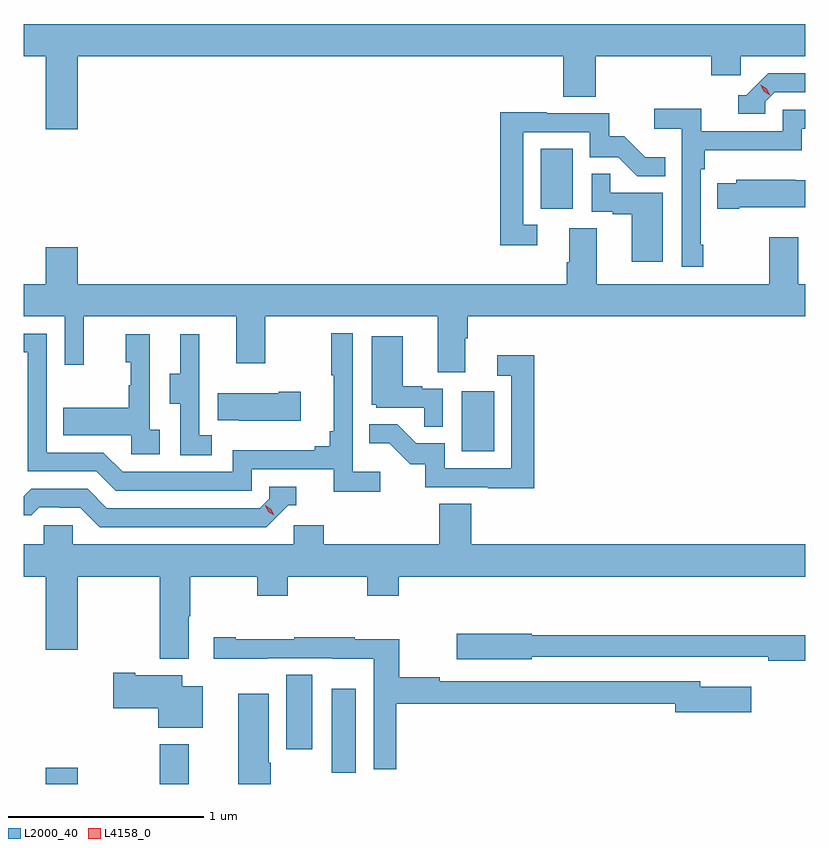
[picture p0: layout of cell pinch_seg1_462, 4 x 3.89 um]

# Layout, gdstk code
import gdstk
lib = gdstk.Library(unit=1e-6, precision=1e-09)
def R(c, l, rs):  # rectangles x0, y0, x1, y1
    for r in rs: c.add(gdstk.rectangle(r[:2], r[2:], *l))
def P(c, l, *ps):  # polygons
    for p in ps: c.add(gdstk.Polygon(p, *l))
L2000_40 = (2000, 40)
L4158_0 = (4158, 0)

pinch_seg1_462 = lib.new_cell('pinch_seg1_462')
R(pinch_seg1_462, L2000_40, [(968.204,521.366,968.368,521.449), (968.788,521.366,968.935,521.569), (969.668,521.424,969.79,521.854), (969.434,521.544,969.568,521.924), (970.334,523.068,970.498,523.375), (970.736,524.31,970.9,524.617)])
P(pinch_seg1_462, L2000_40, [(968.091,525.092),(968.204,525.092),(968.204,524.718),(968.368,524.718),(968.368,525.092),(970.853,525.092),(970.853,524.884),(971.018,524.884),(971.018,525.092),(971.609,525.092),(971.609,524.994),(971.76,524.994),(971.76,525.092),(972.091,525.092),(972.091,525.256),(968.091,525.256)],
  [(971.886,524.859),(971.934,524.907),(972.091,524.907),(972.091,525.003),(971.901,525.003),(971.79,524.892),(971.747,524.892),(971.747,524.796),(971.886,524.796)],
  [(971.569,524.125),(971.556,524.125),(971.556,524.513),(971.576,524.513),(971.576,524.609),(972.072,524.609),(972.072,524.721),(972.091,524.721),(972.091,524.817),(971.976,524.817),(971.976,524.706),(971.558,524.706),(971.558,524.822),(971.319,524.822),(971.319,524.72),(971.46,524.72),(971.46,524.013),(971.569,524.013)],
  [(970.72,524.229),(970.647,524.229),(970.647,524.703),(970.989,524.703),(970.989,524.574),(971.133,524.574),(971.231,524.476),(971.375,524.476),(971.375,524.575),(971.271,524.575),(971.164,524.682),(971.088,524.682),(971.088,524.799),(970.769,524.799),(970.769,524.804),(970.531,524.804),(970.531,524.124),(970.72,524.124)],
  [(971.362,524.391),(971.093,524.391),(971.093,524.489),(970.998,524.489),(970.998,524.295),(971.105,524.295),(971.105,524.283),(971.204,524.283),(971.204,524.04),(971.362,524.04)],
  [(971.752,524.318),(972.091,524.318),(972.091,524.455),(972.041,524.455),(972.041,524.458),(971.739,524.458),(971.739,524.44),(971.641,524.44),(971.641,524.311),(971.752,524.311)],
  [(970.351,523.648),(970.364,523.648),(970.364,523.76),(972.091,523.76),(972.091,523.924),(972.055,523.924),(972.055,524.164),(971.908,524.164),(971.908,523.924),(971.023,523.924),(971.023,524.21),(970.883,524.21),(970.883,524.036),(970.871,524.036),(970.871,523.924),(968.368,523.924),(968.368,524.113),(968.204,524.113),(968.204,523.924),(968.091,523.924),(968.091,523.76),(968.301,523.76),(968.301,523.512),(968.399,523.512),(968.399,523.76),(969.179,523.76),(969.179,523.52),(969.327,523.52),(969.327,523.76),(970.211,523.76),(970.211,523.474),(970.351,523.474)],
  [(969.916,522.964),(969.774,522.964),(969.774,523.672),(969.666,523.672),(969.666,523.459),(969.677,523.459),(969.677,523.171),(969.658,523.171),(969.658,523.094),(969.581,523.094),(969.581,523.075),(969.162,523.075),(969.162,522.963),(968.598,522.963),(968.499,523.062),(968.208,523.062),(968.208,523.671),(968.091,523.671),(968.091,523.575),(968.112,523.575),(968.112,522.966),(968.462,522.966),(968.561,522.867),(969.258,522.867),(969.258,522.978),(969.677,522.978),(969.677,522.862),(969.916,522.862)],
  [(969.052,523.151),(968.988,523.151),(968.988,523.455),(968.99,523.455),(968.99,523.669),(968.891,523.669),(968.891,523.467),(968.837,523.467),(968.837,523.312),(968.892,523.312),(968.892,523.048),(969.052,523.048)],
  [(968.788,523.178),(968.736,523.178),(968.736,523.669),(968.612,523.669),(968.612,523.524),(968.638,523.524),(968.638,523.406),(968.628,523.406),(968.628,523.291),(968.293,523.291),(968.293,523.151),(968.64,523.151),(968.64,523.053),(968.788,523.053)],
  [(970.236,523.389),(970.13,523.389),(970.13,523.402),(970.03,523.402),(970.03,523.657),(969.872,523.657),(969.872,523.308),(969.894,523.308),(969.894,523.293),(970.141,523.293),(970.141,523.195),(970.236,523.195)],
  [(970.703,523.561),(970.515,523.561),(970.515,523.455),(970.587,523.455),(970.587,522.981),(970.245,522.981),(970.245,523.11),(970.101,523.11),(970.003,523.208),(969.859,523.208),(969.859,523.109),(969.963,523.109),(970.07,523.002),(970.147,523.002),(970.147,522.885),(970.465,522.885),(970.465,522.88),(970.703,522.88)],
  [(969.508,523.374),(969.395,523.374),(969.395,523.366),(969.085,523.366),(969.085,523.229),(969.193,523.229),(969.193,523.226),(969.508,523.226)],
  [(969.444,522.792),(969.487,522.792),(969.487,522.888),(969.348,522.888),(969.348,522.825),(969.3,522.777),(968.517,522.777),(968.418,522.876),(968.129,522.876),(968.091,522.838),(968.091,522.741),(968.129,522.741),(968.171,522.783),(968.274,522.783),(968.274,522.78),(968.381,522.78),(968.48,522.681),(969.333,522.681)],
  [(968.935,522.224),(968.943,522.224),(968.943,522.428),(969.286,522.428),(969.286,522.329),(969.441,522.329),(969.441,522.428),(969.85,522.428),(969.85,522.329),(970.01,522.329),(970.01,522.428),(972.091,522.428),(972.091,522.592),(970.382,522.592),(970.382,522.8),(970.217,522.8),(970.217,522.592),(969.626,522.592),(969.626,522.69),(969.474,522.69),(969.474,522.592),(968.343,522.592),(968.343,522.69),(968.193,522.69),(968.193,522.592),(968.091,522.592),(968.091,522.428),(968.204,522.428),(968.204,522.054),(968.368,522.054),(968.368,522.428),(968.788,522.428),(968.788,522.008),(968.935,522.008)],
  [(972.091,522.127),(970.692,522.127),(970.692,522.135),(970.308,522.135),(970.308,522.005),(970.692,522.005),(970.692,522.018),(971.65,522.018),(971.65,522.017),(971.902,522.017),(971.902,521.998),(972.091,521.998)],
  [(969.998,521.776),(971.426,521.776),(971.426,521.734),(971.815,521.734),(971.815,521.863),(971.554,521.863),(971.554,521.892),(970.22,521.892),(970.22,521.912),(970.012,521.912),(970.012,522.108),(969.785,522.108),(969.785,522.118),(969.475,522.118),(969.475,522.108),(969.175,522.108),(969.175,522.118),(969.063,522.118),(969.063,522.008),(969.338,522.008),(969.338,522.009),(969.672,522.009),(969.672,522.008),(969.882,522.008),(969.882,521.442),(969.998,521.442)],
  [(969.007,521.866),(968.902,521.866),(968.902,521.923),(968.662,521.923),(968.662,521.936),(968.55,521.936),(968.55,521.753),(968.78,521.753),(968.78,521.654),(969.007,521.654)],
  [(969.354,521.476),(969.346,521.476),(969.346,521.827),(969.188,521.827),(969.188,521.366),(969.354,521.366)])
P(pinch_seg1_462, L4158_0, [(971.909,524.892),(971.879,524.912),(971.863,524.945),(971.863,524.946),(971.864,524.946),(971.894,524.925),(971.909,524.892),(971.909,524.892)],
  [(969.372,522.741),(969.342,522.76),(969.326,522.792),(969.326,522.792),(969.326,522.792),(969.357,522.773),(969.373,522.741),(969.373,522.741)])

lib.write_gds('pinch_seg1_462.gds')
